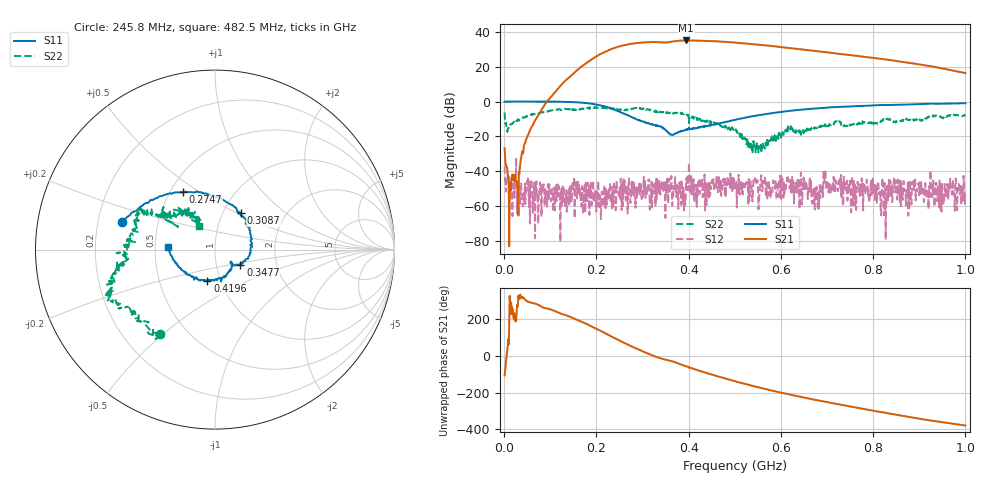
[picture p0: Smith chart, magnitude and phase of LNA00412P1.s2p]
! Created with skrf 1.9.0 (http://scikit-rf.org).
# Hz S RI R 50.0
!freq ReS11 ImS11 ReS21 ImS21 ReS12 ImS12 ReS22 ImS22
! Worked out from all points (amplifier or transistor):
!   1001 points, 1 MHz to 1 GHz, reference 50 ohm
!   highest |S21| = 35.0 dB at 394.6 MHz (marker M1)
!   |S21| within 3 dB of that: 255.9 MHz to 573.4 MHz (317.5 MHz wide, 76.6 % of centre)
!   unconditionally stable (mu >= 1): 302.8 MHz to 400.4 MHz; 400.9 MHz to 924 MHz; 924.3 MHz to end of sweep (the widest 3 of 39)
!   at 166.8 MHz: K = 3.55, MAG = 30.1 dB, |S12| = -57.2 dB
!   at 500.5 MHz: K = 2.38, MAG = 34.3 dB, |S12| = -47.9 dB
!   at 1 GHz: K = 5.45, MAG = 24.5 dB, |S12| = -53.3 dB
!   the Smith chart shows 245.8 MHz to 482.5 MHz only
!   S11 on the Smith chart (normalised r, x): 245.8 MHz: 0.30, +0.13; 274.7 MHz: 0.58, +0.43; 308.7 MHz: 1.21, +0.53; 347.7 MHz: 1.31, -0.23; 419.6 MHz: 0.87, -0.31; 482.5 MHz: 0.58, +0.02
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1000000  0.9929 0.0138  -0.0134 -0.0439  -0.0066 0.012  0.3305 0.3595
1.08892e8  0.5304 -0.8415  -0.8129 -1.564  -0.00158 0.00299  0.4304 -0.3653
1.67833e8  -0.2162 -0.9039  -10.1 -0.6197  -0.000245 -0.000946  0.0561 -0.6203
2.1079e8  -0.6573 -0.3867  -15.91 17.62  -0.000587 -0.00187  -0.1976 -0.6481
2.45755e8  -0.5197 0.1548  1.82 36.81  -0.00185 0.00264  -0.3081 -0.4726
2.74726e8  -0.1782 0.3189  27.85 35.36  -0.000337 -0.00187  -0.5263 -0.3135
3.08692e8  0.1436 0.2035  48.78 12.21  -0.0015 0.00289  -0.5697 -0.1559
3.34666e8  0.1987 -0.00326  49.5 -9.855  -0.00222 -0.000438  -0.5292 -0.0157
3.47653e8  0.1418 -0.0857  46.05 -17.56  0.000468 0.00522  -0.4823 0.0136
3.71629e8  0.0946 -0.0755  43.34 -32.7  -0.00107 0.00237  -0.4274 0.1755
3.94606e8  0.0621 -0.1471  29.96 -47.83  -0.000476 0.00623  -0.3999 0.2063
4.19581e8  -0.0427 -0.1742  10.69 -54.94  0.000269 0.00199  -0.2529 0.2113
4.49551e8  -0.1731 -0.12  -11.67 -52.82  0.00473 0.00122  -0.1567 0.2194
4.82518e8  -0.2619 0.0149  -30.11 -41.17  0.00356 -0.00297  -0.0893 0.1316
5.005e8  -0.2756 0.1058  -37.18 -32.42  -0.0018 -0.00359  -0.0948 0.1404
5.32468e8  -0.2439 0.2749  -42.33 -15.5  0.00591 0.000616  -0.041 0.0467
5.65435e8  -0.1432 0.4074  -40.99 0.5044  0.00651 0.000836  -0.042 0.0161
6.11389e8  0.053 0.5236  -31.32 15.65  0.00266 -0.00328  -0.1411 -0.0644
6.67333e8  0.3193 0.5332  -15.88 23.93  0.00114 0.000522  -0.1755 -0.0439
7.55245e8  0.636 0.3669  2.896 20.84  -4.33e-06 -0.00586  -0.2171 -0.00745
8.34166e8  0.7854 0.1393  10.69 11.39  0.000979 -0.0056  -0.3027 -0.031
1e9  0.8131 -0.3799  6.216 -2.083  -0.000451 0.00212  -0.3653 0.1849
